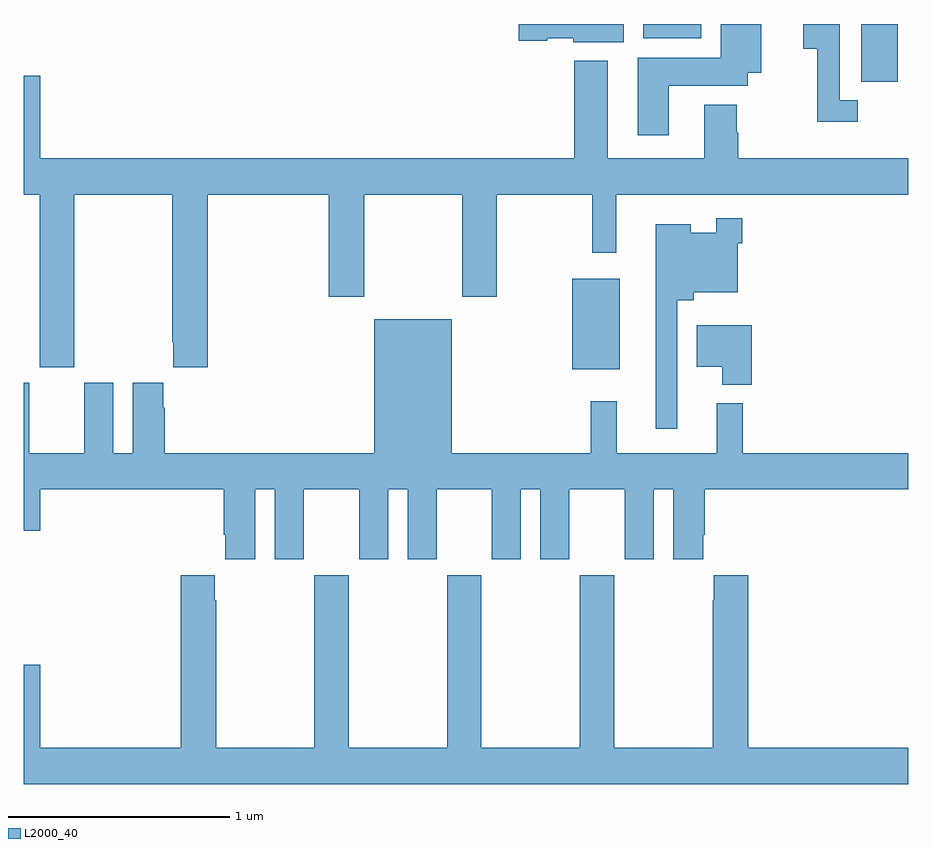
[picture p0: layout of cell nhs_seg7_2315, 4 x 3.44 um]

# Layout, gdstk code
import gdstk
lib = gdstk.Library(unit=1e-6, precision=1e-09)
def R(c, l, rs):  # rectangles x0, y0, x1, y1
    for r in rs: c.add(gdstk.rectangle(r[:2], r[2:], *l))
def P(c, l, *ps):  # polygons
    for p in ps: c.add(gdstk.Polygon(p, *l))
L2000_40 = (2000, 40)

nhs_seg7_2315 = lib.new_cell('nhs_seg7_2315')
R(nhs_seg7_2315, L2000_40, [(263.48,1054.439,263.695,1054.849), (264.788,1055.739,264.952,1056), (263.801,1055.936,264.064,1056)])
P(nhs_seg7_2315, L2000_40, [(263.713,1056),(263.238,1056),(263.238,1055.924),(263.367,1055.924),(263.367,1055.936),(263.484,1055.936),(263.484,1055.918),(263.713,1055.918)],
  [(263.917,1055.72),(264.274,1055.72),(264.274,1055.78),(264.334,1055.78),(264.334,1056),(264.152,1056),(264.152,1055.848),(263.777,1055.848),(263.777,1055.496),(263.917,1055.496)],
  [(264.772,1055.655),(264.69,1055.655),(264.69,1056),(264.524,1056),(264.524,1055.888),(264.589,1055.888),(264.589,1055.558),(264.772,1055.558)],
  [(261.228,1055.228),(261.673,1055.228),(261.673,1054.561),(261.677,1054.561),(261.677,1054.449),(261.833,1054.449),(261.833,1055.228),(262.379,1055.228),(262.379,1054.767),(262.539,1054.767),(262.539,1055.228),(262.984,1055.228),(262.984,1054.767),(263.139,1054.767),(263.139,1055.228),(263.571,1055.228),(263.571,1054.965),(263.68,1054.965),(263.68,1055.228),(265,1055.228),(265,1055.392),(264.23,1055.392),(264.23,1055.508),(264.225,1055.508),(264.225,1055.635),(264.077,1055.635),(264.077,1055.392),(263.641,1055.392),(263.641,1055.833),(263.489,1055.833),(263.489,1055.392),(261.076,1055.392),(261.076,1055.767),(261,1055.767),(261,1055.228),(261.073,1055.228),(261.073,1054.449),(261.228,1054.449)],
  [(263.955,1054.751),(264.029,1054.751),(264.029,1054.787),(264.228,1054.787),(264.228,1055.009),(264.248,1055.009),(264.248,1055.122),(264.132,1055.122),(264.132,1055.056),(264.016,1055.056),(264.016,1055.095),(263.858,1055.095),(263.858,1054.17),(263.955,1054.17)],
  [(262.648,1053.896),(262.736,1053.896),(262.736,1053.579),(262.867,1053.579),(262.867,1053.896),(263.117,1053.896),(263.117,1053.579),(263.248,1053.579),(263.248,1053.896),(263.336,1053.896),(263.336,1053.579),(263.467,1053.579),(263.467,1053.896),(263.717,1053.896),(263.717,1053.579),(263.848,1053.579),(263.848,1053.896),(263.936,1053.896),(263.936,1053.579),(264.073,1053.579),(264.073,1053.691),(264.08,1053.691),(264.08,1053.896),(265,1053.896),(265,1054.06),(264.251,1054.06),(264.251,1054.285),(264.134,1054.285),(264.134,1054.06),(263.681,1054.06),(263.681,1054.294),(263.563,1054.294),(263.563,1054.06),(262.936,1054.06),(262.936,1054.666),(262.586,1054.666),(262.586,1054.06),(261.638,1054.06),(261.638,1054.265),(261.631,1054.265),(261.631,1054.378),(261.494,1054.378),(261.494,1054.06),(261.406,1054.06),(261.406,1054.378),(261.275,1054.378),(261.275,1054.06),(261.025,1054.06),(261.025,1054.378),(261,1054.378),(261,1053.708),(261.076,1053.708),(261.076,1053.896),(261.904,1053.896),(261.904,1053.691),(261.911,1053.691),(261.911,1053.579),(262.048,1053.579),(262.048,1053.896),(262.136,1053.896),(262.136,1053.579),(262.267,1053.579),(262.267,1053.896),(262.517,1053.896),(262.517,1053.579),(262.648,1053.579)],
  [(264.293,1054.639),(264.044,1054.639),(264.044,1054.451),(264.158,1054.451),(264.158,1054.37),(264.293,1054.37)],
  [(265,1052.728),(264.275,1052.728),(264.275,1053.508),(264.119,1053.508),(264.119,1053.395),(264.115,1053.395),(264.115,1052.728),(263.67,1052.728),(263.67,1053.508),(263.515,1053.508),(263.515,1052.728),(263.07,1052.728),(263.07,1053.508),(262.915,1053.508),(262.915,1052.728),(262.47,1052.728),(262.47,1053.508),(262.315,1053.508),(262.315,1052.728),(261.87,1052.728),(261.87,1053.395),(261.865,1053.395),(261.865,1053.508),(261.71,1053.508),(261.71,1052.728),(261.076,1052.728),(261.076,1053.103),(261,1053.103),(261,1052.564),(265,1052.564)])

lib.write_gds('nhs_seg7_2315.gds')
